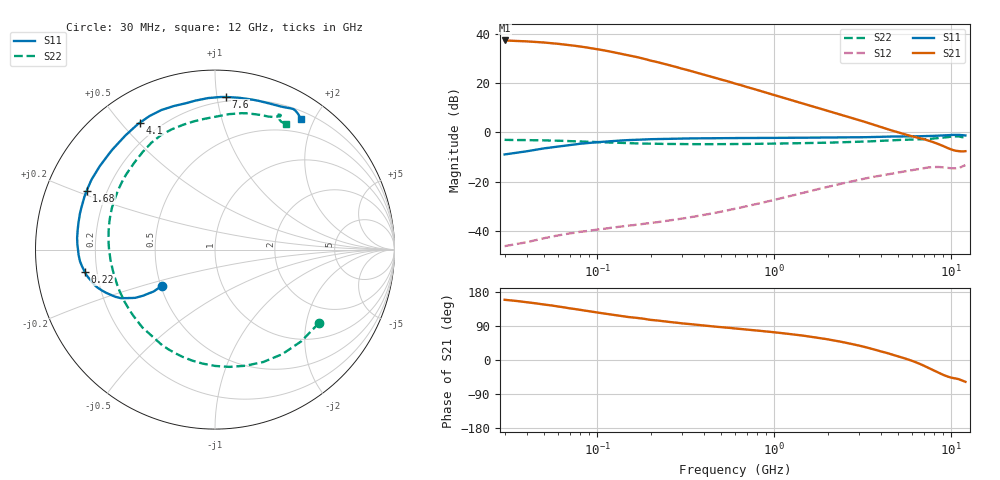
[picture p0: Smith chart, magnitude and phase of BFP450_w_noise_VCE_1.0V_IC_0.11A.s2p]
! Infineon Technologies  Discrete & RF Semiconductors
! BFP450
! VCE =  1.0 V,  IC = 0.11 A
! Common Emitter S-Parameters:  Nov 2015
# GHz  S  MA  R  50
!  f  S11  S21  S12  S22
! GHz  MAG  ANG  MAG  ANG  MAG  ANG  MAG  ANG
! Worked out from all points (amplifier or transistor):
!   239 points, 30 MHz to 12 GHz, reference 50 ohm
!   highest |S21| = 37.4 dB at 30 MHz (marker M1)
!   |S21| within 3 dB of that: start of sweep to 89.82 MHz
!   unconditionally stable (mu >= 1): 749.6 MHz to end of sweep
!   at 300 MHz: K = 0.77, MSG = 30.5 dB, |S12| = -35.0 dB
!   at 1.88 GHz: K = 1.10, MAG = 14.1 dB, |S12| = -22.6 dB
!   at 12 GHz: K = 1.08, MAG = 1.1 dB, |S12| = -13.3 dB
!   lowest NFmin = 2.22 dB at 450 MHz
!   S11 on the Smith chart (normalised r, x): 30 MHz: 0.51, -0.23; 220 MHz: 0.15, -0.08; 1.68 GHz: 0.12, +0.21; 4.1 GHz: 0.13, +0.56; 7.6 GHz: 0.17, +1.06; 12 GHz: 0.31, +1.82
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0.03  0.3578 -145.8  74.15 158.9  0.0049 77.2  0.7091 -35.2
0.04  0.4151 -145.7  71.04 152.5  0.0059 72.2  0.7016 -46.7
0.05  0.4752 -147.3  67.41 146.4  0.0071 67.3  0.6927 -57.3
0.06  0.5187 -148.8  63.42 141.4  0.0081 64.6  0.6814 -66.8
0.07  0.5569 -151.0  59.54 136.3  0.0089 61.0  0.6689 -75.4
0.085  0.6026 -153.7  54.16 130.6  0.0098 57.6  0.652 -86.5
0.11  0.652 -158.3  46.42 122.4  0.0111 54.9  0.6313 -101.7
0.14  0.692 -162.6  39.05 115.4  0.0124 52.4  0.6129 -115.3
0.2  0.7306 -168.8  28.91 105.9  0.0145 52.1  0.5931 -133.2
0.22  0.736 -170.3  26.8 104.1  0.0151 52.6  0.588 -137.0
0.24  0.742 -171.7  24.71 101.9  0.0158 53.0  0.5856 -140.9
0.3  0.7548 -175.0  19.87 96.8  0.0177 54.5  0.5815 -149.8
0.36  0.7603 -177.6  16.67 93.2  0.0197 55.9  0.5796 -156.0
0.45  0.7654 179.2  13.28 88.6  0.0228 57.8  0.5795 -163.0
0.6  0.7709 175.2  9.871 83.1  0.0282 59.7  0.5826 -170.9
1  0.7763 166.9  5.745 73.1  0.0428 60.4  0.5942 176.3
1.64  0.7859 156.1  3.405 60.9  0.066 55.7  0.6123 162.7
1.68  0.7867 155.4  3.318 60.2  0.0674 55.3  0.6136 162.0
4.1  0.8215 120.6  1.256 21.4  0.1356 26.8  0.6801 125.2
4.5  0.8288 116.2  1.126 16.0  0.1436 22.7  0.693 120.7
7.6  0.8526 85.8  0.668 -23.1  0.1965 -10.9  0.743 88.8
12  0.8699 56.5  0.417 -57.5  0.217 -42.8  0.8034 60.3
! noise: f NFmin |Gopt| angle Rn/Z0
0.45  2.22  0.65  -171  0.07
0.9  2.28  0.68  -165  0.09
1.9  2.37  0.69  -149  0.17
2.4  2.45  0.69  -140  0.26
